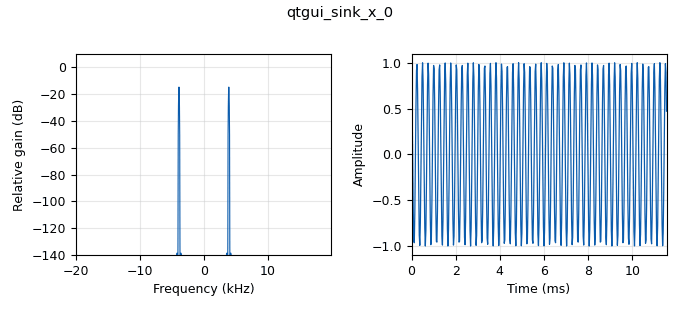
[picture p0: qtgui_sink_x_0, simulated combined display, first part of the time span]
options:
  parameters:
    generate_options: qt_gui
    id: faza
    output_language: python
    title: Not titled yet
  states: {}

blocks:
- name: Delay
  id: variable_qtgui_range
  parameters:
    label: Delay
    start: '0'
    step: '1'
    stop: '1000'
    value: '2'
    widget: counter
  states: {}
- name: samp_rate
  id: variable
  parameters:
    value: '40000'
  states: {}
- name: analog_sig_source_x_0
  id: analog_sig_source_x
  parameters:
    amp: '1'
    freq: '3906.25'
    offset: '0'
    phase: '0'
    samp_rate: samp_rate
    type: float
    waveform: analog.GR_COS_WAVE
  states: {}
- name: analog_sig_source_x_0_0
  id: analog_sig_source_x
  parameters:
    amp: '1'
    freq: '3906.25'
    offset: '0'
    phase: '0'
    samp_rate: samp_rate
    type: float
    waveform: analog.GR_COS_WAVE
  states: {}
- name: blocks_complex_to_arg_0
  id: blocks_complex_to_arg
  parameters: {}
  states: {}
- name: blocks_complex_to_arg_0_0
  id: blocks_complex_to_arg
  parameters: {}
  states: {}
- name: blocks_delay_0
  id: blocks_delay
  parameters:
    delay: Delay
    type: float
  states: {}
- name: blocks_keep_one_in_n_0
  id: blocks_keep_one_in_n
  parameters:
    n: '1024'
    type: complex
  states: {}
- name: blocks_keep_one_in_n_0_0
  id: blocks_keep_one_in_n
  parameters:
    n: '1024'
    type: complex
  states: {}
- name: blocks_skiphead_0
  id: blocks_skiphead
  parameters:
    num_items: '101'
    type: complex
  states: {}
- name: blocks_skiphead_0_0
  id: blocks_skiphead
  parameters:
    num_items: '101'
    type: complex
  states: {}
- name: blocks_stream_to_vector_0
  id: blocks_stream_to_vector
  parameters:
    num_items: '1024'
    type: float
  states: {}
- name: blocks_stream_to_vector_0_0
  id: blocks_stream_to_vector
  parameters:
    num_items: '1024'
    type: float
  states: {}
- name: blocks_sub_xx_0
  id: blocks_sub_xx
  parameters:
    type: float
  states: {}
- name: blocks_throttle_0
  id: blocks_throttle
  parameters:
    samples_per_second: '160000'
    type: float
  states: {}
- name: blocks_vector_to_stream_0
  id: blocks_vector_to_stream
  parameters:
    num_items: '1024'
    type: complex
  states: {}
- name: blocks_vector_to_stream_0_0
  id: blocks_vector_to_stream
  parameters:
    num_items: '1024'
    type: complex
  states: {}
- name: fft_vxx_0
  id: fft_vxx
  parameters:
    fft_size: '1024'
    forward: 'True'
    shift: 'True'
    type: float
    window: window.blackmanharris(1024)
  states: {}
- name: fft_vxx_0_0
  id: fft_vxx
  parameters:
    fft_size: '1024'
    forward: 'True'
    shift: 'True'
    type: float
    window: window.blackmanharris(1024)
  states: {}
- name: qtgui_number_sink_0
  id: qtgui_number_sink
  parameters:
    graph_type: qtgui.NUM_GRAPH_HORIZ
    type: float
  states: {}
- name: qtgui_sink_x_0
  id: qtgui_sink_x
  parameters:
    bw: samp_rate
    fc: '0'
    fftsize: '1024'
    type: float
  states: {}

connections:
- [analog_sig_source_x_0, '0', blocks_stream_to_vector_0, '0']
- [analog_sig_source_x_0_0, '0', blocks_throttle_0, '0']
- [blocks_complex_to_arg_0, '0', blocks_sub_xx_0, '0']
- [blocks_complex_to_arg_0_0, '0', blocks_sub_xx_0, '1']
- [blocks_delay_0, '0', blocks_stream_to_vector_0_0, '0']
- [blocks_delay_0, '0', qtgui_sink_x_0, '0']
- [blocks_keep_one_in_n_0, '0', blocks_complex_to_arg_0, '0']
- [blocks_keep_one_in_n_0_0, '0', blocks_complex_to_arg_0_0, '0']
- [blocks_skiphead_0, '0', blocks_keep_one_in_n_0, '0']
- [blocks_skiphead_0_0, '0', blocks_keep_one_in_n_0_0, '0']
- [blocks_stream_to_vector_0, '0', fft_vxx_0, '0']
- [blocks_stream_to_vector_0_0, '0', fft_vxx_0_0, '0']
- [blocks_sub_xx_0, '0', qtgui_number_sink_0, '0']
- [blocks_throttle_0, '0', blocks_delay_0, '0']
- [blocks_vector_to_stream_0, '0', blocks_skiphead_0, '0']
- [blocks_vector_to_stream_0_0, '0', blocks_skiphead_0_0, '0']
- [fft_vxx_0, '0', blocks_vector_to_stream_0, '0']
- [fft_vxx_0_0, '0', blocks_vector_to_stream_0_0, '0']

metadata:
  file_format: 1
